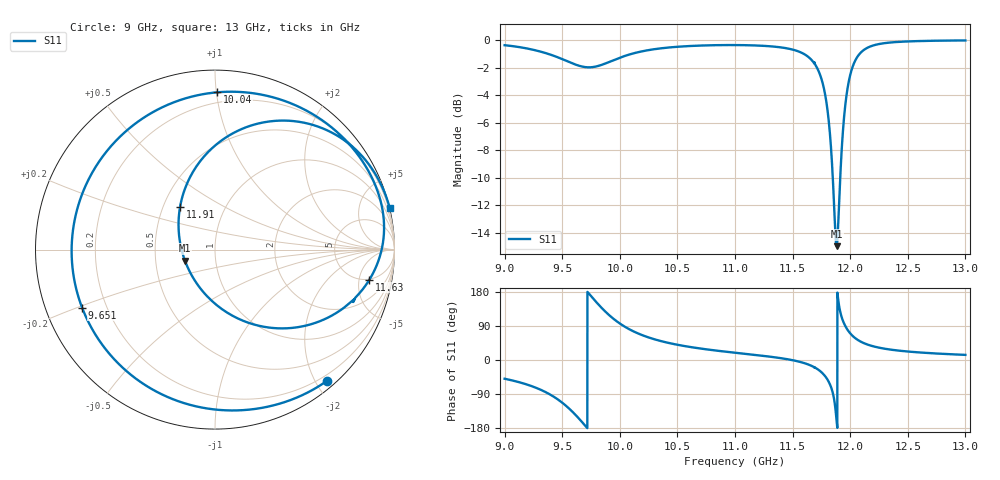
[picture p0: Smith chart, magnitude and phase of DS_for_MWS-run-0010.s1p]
! TOUCHSTONE file generated by CST DESIGN STUDIO
! Date and time: Tue Feb  4 14:10:49 2025
! Project name: C:\Work\MatlabApps\UnitCellOptimizationMatlab\CST\unitcell.cst
! Tree item: Tasks\Sweep1\SPara1\S-Parameters
! Header version: 2024
! Port assignment regex: !\s*Touchstone port\s*([0-9]+)\s*=\s*(CST MWS port|CST DES external port|CST DES block port)\s*(.+)\s* \(\"(.*)\"\)(\s*mode\s*([0-9]+))?.*
! Touchstone port assignment:
! Touchstone port 1 = CST DES external port 1 ("")
# GHz S MA R 50
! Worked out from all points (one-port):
!   4001 points, 9 GHz to 13 GHz, reference 50 ohm
!   lowest |S11| = -15.0 dB at 11.88 GHz (marker M1), VSWR 1.43, Z = 35.4 - j4.46 ohm
!   |S11| at or under -10 dB: 11.85 GHz to 11.91 GHz (64.4 MHz wide, 0.542 % of centre)
!   S11 on the Smith chart (normalised r, x): 9 GHz: 0.11, -2.17; 9.651 GHz: 0.11, -0.21; 10.04 GHz: 0.13, +1.00; 11.63 GHz: 4.87, -7.03; 11.91 GHz: 0.61, +0.32; 13 GHz: -0.01, +8.44
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9  0.9613 -49.4
9.267  0.9212 -72.6
9.4  0.8877 -92.0
9.5  0.8557 -112.6
9.575  0.8299 -132.4
9.651  0.8081 -156.5
9.72  0.7988 179.4
9.788  0.8032 155.5
9.892  0.8302 122.7
10  0.8655 96.3
10.036  0.8764 89.2
10.241  0.9213 60.4
10.5  0.9486 40.2
11  0.9624 19.2
11.5  0.9266 -0.5
11.629  0.8763 -11.0
11.728  0.7699 -26.6
11.803  0.5579 -51.8
11.843  0.3515 -80.1
11.882  0.1784 -160.0
11.912  0.3074 129.3
11.955  0.5698 91.1
12  0.7487 70.3
12.073  0.8848 51.6
12.165  0.9475 39.2
12.297  0.9778 29.9
12.5  0.9921 22.4
13  1 13.5
